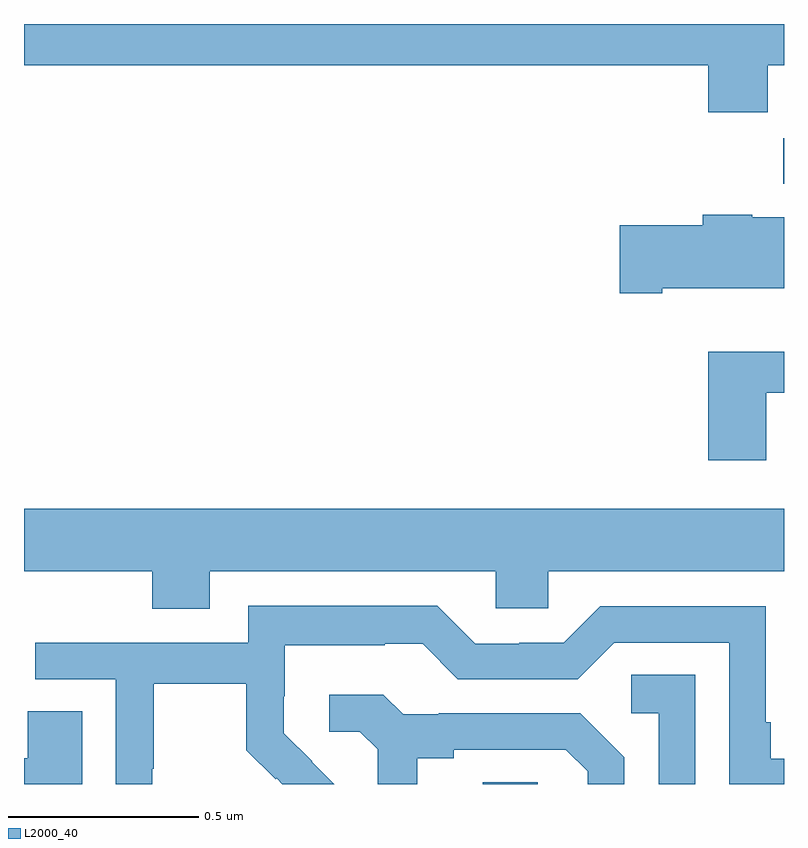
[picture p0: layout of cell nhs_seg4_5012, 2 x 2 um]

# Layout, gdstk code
import gdstk
lib = gdstk.Library(unit=1e-6, precision=1e-09)
def R(c, l, rs):  # rectangles x0, y0, x1, y1
    for r in rs: c.add(gdstk.rectangle(r[:2], r[2:], *l))
def P(c, l, *ps):  # polygons
    for p in ps: c.add(gdstk.Polygon(p, *l))
L2000_40 = (2000, 40)

nhs_seg4_5012 = lib.new_cell('nhs_seg4_5012')
R(nhs_seg4_5012, L2000_40, [(173.207,822.9,173.352,822.905), (173.998,824.48,174,824.599)])
P(nhs_seg4_5012, L2000_40, [(173.957,824.792),(174,824.792),(174,824.9),(172,824.9),(172,824.792),(173.801,824.792),(173.801,824.668),(173.957,824.668)],
  [(173.68,824.204),(174,824.204),(174,824.392),(173.916,824.392),(173.916,824.398),(173.786,824.398),(173.786,824.37),(173.568,824.37),(173.568,824.192),(173.68,824.192)],
  [(173.953,823.929),(174,823.929),(174,824.038),(173.801,824.038),(173.801,823.752),(173.953,823.752)],
  [(172.489,823.46),(173.241,823.46),(173.241,823.362),(173.379,823.362),(173.379,823.46),(174,823.46),(174,823.624),(172,823.624),(172,823.46),(172.337,823.46),(172.337,823.361),(172.489,823.361)],
  [(172.338,822.94),(172.341,822.94),(172.341,823.164),(172.585,823.164),(172.585,822.989),(172.662,822.912),(172.665,822.915),(172.68,822.9),(172.816,822.9),(172.757,822.959),(172.758,822.96),(172.684,823.034),(172.684,823.131),(172.686,823.131),(172.686,823.265),(172.949,823.265),(172.949,823.269),(173.049,823.269),(173.142,823.176),(173.457,823.176),(173.553,823.272),(173.856,823.272),(173.856,822.9),(174,822.9),(174,822.966),(173.965,822.966),(173.965,823.063),(173.952,823.063),(173.952,823.368),(173.517,823.368),(173.421,823.272),(173.303,823.272),(173.303,823.269),(173.187,823.269),(173.087,823.369),(172.59,823.369),(172.59,823.272),(172.029,823.272),(172.029,823.176),(172.242,823.176),(172.242,822.9),(172.338,822.9)],
  [(173.766,823.187),(173.598,823.187),(173.598,823.086),(173.67,823.086),(173.67,822.9),(173.766,822.9)],
  [(173.035,822.968),(173.131,822.968),(173.131,822.99),(173.426,822.99),(173.483,822.933),(173.483,822.9),(173.58,822.9),(173.58,822.97),(173.464,823.086),(173.092,823.086),(173.092,823.083),(172.998,823.083),(172.946,823.135),(172.803,823.135),(172.803,823.038),(172.884,823.038),(172.931,822.991),(172.931,822.9),(173.035,822.9)],
  [(172.153,823.091),(172.01,823.091),(172.01,822.968),(172,822.968),(172,822.9),(172.153,822.9)])

lib.write_gds('nhs_seg4_5012.gds')
